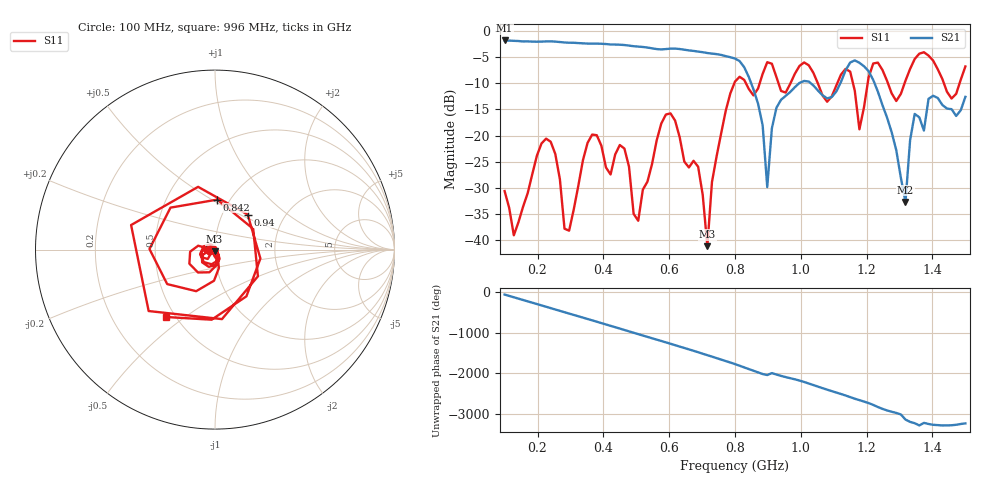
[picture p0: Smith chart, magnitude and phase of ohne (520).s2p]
! NanoVNA-App
! Date: 2025-09-25 14:24:51
! Start: 100MHz Stop: 1,5GHz Points: 101
! S-Parameter data: F S11 S21 S12 S22
# Hz S RI R 50
!  Frequency  S11_Real  S11_Imag  S21_Real  S21_Imag  S12_Real  S12_Imag  S22_Real  S22_Imag
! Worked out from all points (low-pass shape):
!   101 points, 100 MHz to 1.5 GHz, reference 50 ohm
!   highest |S21| = -1.79 dB at 100 MHz (marker M1); lowest = -32.7 dB at 1.318 GHz (marker M2)
!   |S21| within 3 dB of the highest: start of sweep to 771.7 MHz
!   lowest |S11| = -41.2 dB at 716 MHz (marker M3), VSWR 1.02, Z = 49.8 - j0.84 ohm
!   |S11| at or under -10 dB: start of sweep to 797.9 MHz; 833.2 MHz to 875 MHz (41.78 MHz wide, 4.89 % of centre); 1.052 GHz to 1.111 GHz (59.08 MHz wide, 5.46 % of centre) (the widest 3 of 7)
!   S12 and S22 are empty: the file has one direction only
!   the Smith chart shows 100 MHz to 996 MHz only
!   S11 on the Smith chart (normalised r, x): 100 MHz: 0.94, -0.01; 842 MHz: 0.88, +0.53; 940 MHz: 1.31, +0.55; 996 MHz: 0.45, -0.43
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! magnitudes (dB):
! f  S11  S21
! 100 MHz  -30.6  -1.8
! 128 MHz  -39.1  -1.9
! 226 MHz  -20.6  -2.0
! 296 MHz  -38.2  -2.2
! 338 MHz  -24.7  -2.3
! 464 MHz  -22.5  -2.7
! 506 MHz  -36.3  -3.0
! 576 MHz  -17.7  -3.5
! 688 MHz  -26.0  -3.9
! 716 MHz  -41.2  -4.2
! 800 MHz  -9.7  -5.3
! 842 MHz  -11.1  -8.8
! 898 MHz  -6.0  -29.9
! 940 MHz  -11.5  -13.1
! 996 MHz  -6.7  -9.9
! 1.038 GHz  -8.0  -10.4
! 1.178 GHz  -18.8  -6.1
! 1.22 GHz  -6.2  -9.4
! 1.276 GHz  -11.9  -19.4
! 1.318 GHz  -9.5  -32.7
! 1.346 GHz  -5.3  -15.9
! 1.5 GHz  -6.8  -12.6
